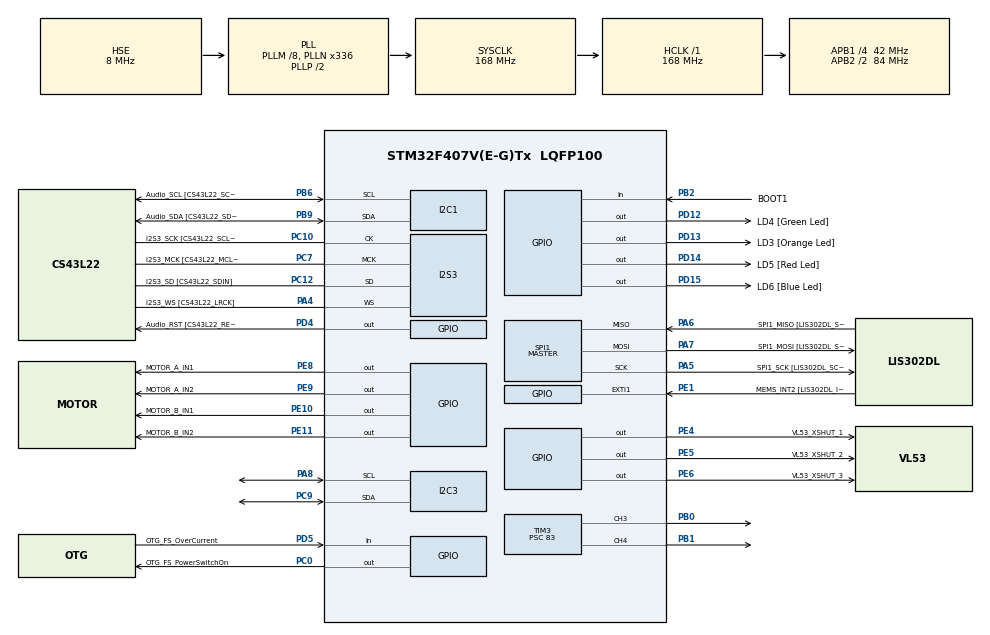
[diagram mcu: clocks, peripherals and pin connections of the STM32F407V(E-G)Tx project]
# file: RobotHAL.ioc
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I2C3.I2C_Mode=I2C_Fast
I2S3.AudioFreq-Half_Duplex_Master=I2S_AUDIOFREQ_96K
I2S3.ErrorAudioFreq=-2.34 %
I2S3.ErrorAudioFreq-Half_Duplex_Master=0.8 %
I2S3.FullDuplexMode=I2S_FULLDUPLEXMODE_DISABLE
I2S3.Instance=SPI$Index
I2S3.RealAudioFreq=93.75 KHz
I2S3.RealAudioFreq-Half_Duplex_Master=96.774 KHz
I2S3.VirtualMode=I2S_MODE_MASTER
Mcu.Family=STM32F4
Mcu.Name=STM32F407V(E-G)Tx
Mcu.Package=LQFP100
NVIC.PriorityGroup=NVIC_PRIORITYGROUP_0
PA10.GPIO_Label=OTG_FS_ID
PA10.GPIO_Mode=GPIO_MODE_AF_PP
PA10.GPIO_PuPd=GPIO_NOPULL
PA10.GPIO_Speed=GPIO_SPEED_FREQ_LOW
PA10.Signal=USB_OTG_FS_ID
PA11.GPIO_Label=OTG_FS_DM
PA11.GPIO_Mode=GPIO_MODE_AF_PP
PA11.GPIO_PuPd=GPIO_NOPULL
PA11.GPIO_Speed=GPIO_SPEED_FREQ_LOW
PA11.Signal=USB_OTG_FS_DM
PA12.GPIO_Label=OTG_FS_DP
PA12.GPIO_Mode=GPIO_MODE_AF_PP
PA12.GPIO_PuPd=GPIO_NOPULL
PA12.GPIO_Speed=GPIO_SPEED_FREQ_LOW
PA12.Signal=USB_OTG_FS_DP
PA13.GPIO_Label=SWDIO
PA13.Mode=Serial_Wire
PA13.Signal=SYS_JTMS-SWDIO
PA14.GPIO_Label=SWCLK
PA14.Mode=Serial_Wire
PA14.Signal=SYS_JTCK-SWCLK
PA4.GPIO_Label=I2S3_WS [CS43L22_LRCK]
PA4.GPIO_Mode=GPIO_MODE_AF_PP
PA4.GPIO_PuPd=GPIO_NOPULL
PA4.GPIO_Speed=GPIO_SPEED_FREQ_LOW
PA4.Mode=Half_Duplex_Master
PA4.Signal=I2S3_WS
PA5.GPIO_Label=SPI1_SCK [LIS302DL_SCL/SPC]
PA5.GPIO_Mode=GPIO_MODE_AF_PP
PA5.GPIO_PuPd=GPIO_NOPULL
PA5.GPIO_Speed=GPIO_SPEED_FREQ_LOW
PA5.Mode=Full_Duplex_Master
PA5.Signal=SPI1_SCK
PA6.GPIO_Label=SPI1_MISO [LIS302DL_SDO]
PA6.GPIO_Mode=GPIO_MODE_AF_PP
PA6.GPIO_PuPd=GPIO_NOPULL
PA6.GPIO_Speed=GPIO_SPEED_FREQ_LOW
PA6.Mode=Full_Duplex_Master
PA6.Signal=SPI1_MISO
PA7.GPIO_Label=SPI1_MOSI [LIS302DL_SDA/SDI/SDO]
PA7.GPIO_Mode=GPIO_MODE_AF_PP
PA7.GPIO_PuPd=GPIO_NOPULL
PA7.GPIO_Speed=GPIO_SPEED_FREQ_LOW
PA7.Mode=Full_Duplex_Master
PA7.Signal=SPI1_MOSI
PA8.Mode=I2C
PA8.Signal=I2C3_SCL
PB0.Signal=S_TIM3_CH3
PB1.Signal=S_TIM3_CH4
PB10.GPIO_Label=CLK_IN [MP45DT02_CLK]
PB10.GPIO_Mode=GPIO_MODE_AF_PP
PB10.GPIO_PuPd=GPIO_NOPULL
PB10.GPIO_Speed=GPIO_SPEED_FREQ_LOW
PB10.Signal=I2S2_CK
PB2.GPIO_Label=BOOT1
PB2.GPIO_Mode=GPIO_MODE_INPUT
PB2.GPIO_PuPd=GPIO_NOPULL
PB2.Signal=GPIO_Input
PB3.GPIO_Label=SWO
PB3.Signal=SYS_JTDO-SWO
PB6.GPIO_Label=Audio_SCL [CS43L22_SCL]
PB6.GPIO_Mode=GPIO_MODE_AF_OD
PB6.GPIO_Pu=GPIO_PULLUP
PB6.GPIO_PuPd=GPIO_NOPULL
PB6.GPIO_Speed=GPIO_SPEED_FREQ_LOW
PB6.Mode=I2C
PB6.Signal=I2C1_SCL
PB9.GPIO_Label=Audio_SDA [CS43L22_SDA]
PB9.GPIO_Mode=GPIO_MODE_AF_OD
PB9.GPIO_Pu=GPIO_PULLUP
PB9.GPIO_PuPd=GPIO_NOPULL
PB9.GPIO_Speed=GPIO_SPEED_FREQ_LOW
PB9.Mode=I2C
PB9.Signal=I2C1_SDA
PC0.GPIO_Label=OTG_FS_PowerSwitchOn
PC0.GPIO_PuPd=GPIO_NOPULL
PC0.GPIO_Speed=GPIO_SPEED_FREQ_LOW
PC0.PinState=GPIO_PIN_SET
PC0.Signal=GPIO_Output
PC10.GPIO_Label=I2S3_SCK [CS43L22_SCLK]
PC10.GPIO_Mode=GPIO_MODE_AF_PP
PC10.GPIO_PuPd=GPIO_NOPULL
PC10.GPIO_Speed=GPIO_SPEED_FREQ_LOW
PC10.Mode=Half_Duplex_Master
PC10.Signal=I2S3_CK
PC12.GPIO_Label=I2S3_SD [CS43L22_SDIN]
PC12.GPIO_Mode=GPIO_MODE_AF_PP
PC12.GPIO_PuPd=GPIO_NOPULL
PC12.GPIO_Speed=GPIO_SPEED_FREQ_LOW
PC12.Mode=Half_Duplex_Master
PC12.Signal=I2S3_SD
PC14-OSC32_IN.GPIO_Label=PC14-OSC32_IN
PC14-OSC32_IN.Mode=LSE-External-Oscillator
PC14-OSC32_IN.Signal=RCC_OSC32_IN
PC15-OSC32_OUT.GPIO_Label=PC15-OSC32_OUT
PC15-OSC32_OUT.Mode=LSE-External-Oscillator
PC15-OSC32_OUT.Signal=RCC_OSC32_OUT
PC3.GPIO_Label=PDM_OUT [MP45DT02_DOUT]
PC3.GPIO_Mode=GPIO_MODE_AF_PP
PC3.GPIO_PuPd=GPIO_NOPULL
PC3.GPIO_Speed=GPIO_SPEED_FREQ_LOW
PC3.Signal=I2S2_SD
PC7.GPIO_Label=I2S3_MCK [CS43L22_MCLK]
PC7.GPIO_Mode=GPIO_MODE_AF_PP
PC7.GPIO_PuPd=GPIO_NOPULL
PC7.GPIO_Speed=GPIO_SPEED_FREQ_LOW
PC7.Mode=Master_Clock_Activated
PC7.Signal=I2S3_MCK
PC9.Mode=I2C
PC9.Signal=I2C3_SDA
PD12.GPIO_Label=LD4 [Green Led]
PD12.GPIO_PuPd=GPIO_NOPULL
PD12.GPIO_Speed=GPIO_SPEED_FREQ_LOW
PD12.Signal=GPIO_Output
PD13.GPIO_Label=LD3 [Orange Led]
PD13.GPIO_PuPd=GPIO_NOPULL
PD13.GPIO_Speed=GPIO_SPEED_FREQ_LOW
PD13.Signal=GPIO_Output
PD14.GPIO_Label=LD5 [Red Led]
PD14.GPIO_PuPd=GPIO_NOPULL
PD14.GPIO_Speed=GPIO_SPEED_FREQ_LOW
PD14.Signal=GPIO_Output
PD15.GPIO_Label=LD6 [Blue Led]
PD15.GPIO_PuPd=GPIO_NOPULL
PD15.GPIO_Speed=GPIO_SPEED_FREQ_LOW
PD15.Signal=GPIO_Output
PD4.GPIO_Label=Audio_RST [CS43L22_RESET]
PD4.GPIO_PuPd=GPIO_NOPULL
PD4.GPIO_Speed=GPIO_SPEED_FREQ_LOW
PD4.Signal=GPIO_Output
PD5.GPIO_Label=OTG_FS_OverCurrent
PD5.GPIO_Mode=GPIO_MODE_INPUT
PD5.GPIO_PuPd=GPIO_NOPULL
PD5.Signal=GPIO_Input
PE1.GPIO_Label=MEMS_INT2 [LIS302DL_INT2]
PE1.GPIO_ModeDefaultEXTI=GPIO_MODE_EVT_RISING
PE1.GPIO_PuPd=GPIO_NOPULL
PE1.Signal=GPXTI1
PE10.GPIO_Label=MOTOR_B_IN1
PE10.Signal=GPIO_Output
PE11.GPIO_Label=MOTOR_B_IN2
PE11.Signal=GPIO_Output
PE4.GPIO_Label=VL53_XSHUT_1
PE4.Signal=GPIO_Output
PE5.GPIO_Label=VL53_XSHUT_2
PE5.Signal=GPIO_Output
PE6.GPIO_Label=VL53_XSHUT_3
PE6.Signal=GPIO_Output
PE8.GPIO_Label=MOTOR_A_IN1
PE8.Signal=GPIO_Output
PE9.GPIO_Label=MOTOR_A_IN2
PE9.Signal=GPIO_Output
PH0-OSC_IN.GPIO_Label=PH0-OSC_IN
PH0-OSC_IN.Mode=HSE-External-Oscillator
PH0-OSC_IN.Signal=RCC_OSC_IN
PH1-OSC_OUT.GPIO_Label=PH1-OSC_OUT
PH1-OSC_OUT.Mode=HSE-External-Oscillator
PH1-OSC_OUT.Signal=RCC_OSC_OUT
ProjectManager.HeapSize=0x200
ProjectManager.StackSize=0x400
ProjectManager.TargetToolchain=STM32CubeIDE
RCC.48MHZClocksFreq_Value=48000000
RCC.AHBFreq_Value=168000000
RCC.APB1CLKDivider=RCC_HCLK_DIV4
RCC.APB1Freq_Value=42000000
RCC.APB1TimFreq_Value=84000000
RCC.APB2CLKDivider=RCC_HCLK_DIV2
RCC.APB2Freq_Value=84000000
RCC.APB2TimFreq_Value=168000000
RCC.CortexFreq_Value=168000000
RCC.HCLKFreq_Value=168000000
RCC.HSE_VALUE=8000000
RCC.HSI_VALUE=16000000
RCC.PLLM=8
RCC.PLLN=336
RCC.PLLQ=7
RCC.PLLSourceVirtual=RCC_PLLSOURCE_HSE
RCC.SYSCLKFreq_VALUE=168000000
RCC.SYSCLKSource=RCC_SYSCLKSOURCE_PLLCLK
RCC.VCOOutputFreq_Value=336000000
SH.S_TIM3_CH3.0=TIM3_CH3,PWM Generation3 CH3
SH.S_TIM3_CH4.0=TIM3_CH4,PWM Generation4 CH4
SPI1.BaudRatePrescaler-Full_Duplex_Master=SPI_BAUDRATEPRESCALER_2
SPI1.CalculateBaudRate-Full_Duplex_Master=42.0 MBits/s
SPI1.Direction=SPI_DIRECTION_2LINES
SPI1.Mode=SPI_MODE_MASTER
SPI1.Mode-Full_Duplex_Master=SPI_MODE_MASTER
SPI1.VirtualType=VM_MASTER
TIM3.Channel-PWM\ Generation3\ CH3=TIM_CHANNEL_3
TIM3.Channel-PWM\ Generation4\ CH4=TIM_CHANNEL_4
TIM3.Period=999
TIM3.Prescaler=83
board=STM32F407G-DISC1

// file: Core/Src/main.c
/* USER CODE BEGIN Header */
/**
  ******************************************************************************
  * @file           : main.c
  * @brief          : Main program body
  ******************************************************************************
  * @attention
  *
  * Copyright (c) 2026 STMicroelectronics.
  * All rights reserved.
  *
  * This software is licensed under terms that can be found in the LICENSE file
  * in the root directory of this software component.
  * If no LICENSE file comes with this software, it is provided AS-IS.
  *
  ******************************************************************************
  */
/* USER CODE END Header */
#include "main.h"

I2C_HandleTypeDef hi2c1;
I2C_HandleTypeDef hi2c3;

I2S_HandleTypeDef hi2s3;

SPI_HandleTypeDef hspi1;

TIM_HandleTypeDef htim3;

void SystemClock_Config(void);
static void MX_GPIO_Init(void);
static void MX_I2C1_Init(void);
static void MX_I2S3_Init(void);
static void MX_SPI1_Init(void);
static void MX_I2C3_Init(void);
static void MX_TIM3_Init(void);

/* USER CODE BEGIN 0 */
#include <string.h>
#include <stdint.h>

// VL53L1X uses I2C address byte 0x52/0x53 (8-bit) per datasheet  [oai_citation:2‡vl53l1x.pdf](sediment://file_0000000055e0722fb961f491f9095d9f)
// In HAL, we pass the 7-bit address left-shifted by 1.
// 0x52 >> 1 = 0x29 (7-bit)
#define VL53L1X_ADDR_7BIT   (0x29)
#define VL53L1X_ADDR_HAL    (VL53L1X_ADDR_7BIT << 1)

// Reference registers from datasheet Table 8  [oai_citation:3‡vl53l1x.pdf](sediment://file_0000000055e0722fb961f491f9095d9f)
#define VL53_REG_MODEL_ID   0x010F
#define VL53_REG_MODULE_TYPE 0x0110
#define VL53_REG_MASK_REV   0x0111

static HAL_StatusTypeDef vl53_write_u16_index(I2C_HandleTypeDef *hi2c, uint16_t reg, const uint8_t *data, uint16_t len)
{
  // Datasheet: second byte(s) provide a 16-bit index (MSB first)  [oai_citation:4‡vl53l1x.pdf](sediment://file_0000000055e0722fb961f491f9095d9f)
  uint8_t buf[2 + 32];
  if (len > 32) return HAL_ERROR;

  buf[0] = (uint8_t)(reg >> 8);
  buf[1] = (uint8_t)(reg & 0xFF);
  if (len && data) memcpy(&buf[2], data, len);

  return HAL_I2C_Master_Transmit(hi2c, VL53L1X_ADDR_HAL, buf, 2 + len, 100);
}

static HAL_StatusTypeDef vl53_read_u16_index(I2C_HandleTypeDef *hi2c, uint16_t reg, uint8_t *data, uint16_t len)
{
  // Datasheet read format: write index (0x52) then read data (0x53)  [oai_citation:5‡vl53l1x.pdf](sediment://file_0000000055e0722fb961f491f9095d9f)
  uint8_t idx[2];
  idx[0] = (uint8_t)(reg >> 8);
  idx[1] = (uint8_t)(reg & 0xFF);

  HAL_StatusTypeDef st = HAL_I2C_Master_Transmit(hi2c, VL53L1X_ADDR_HAL, idx, 2, 100);
  if (st != HAL_OK) return st;

  return HAL_I2C_Master_Receive(hi2c, VL53L1X_ADDR_HAL, data, len, 100);
}

static void I2C_Scan(I2C_HandleTypeDef *hi2c)
{
  for (uint8_t addr = 1; addr < 127; addr++)
  {
    if (HAL_I2C_IsDeviceReady(hi2c, (addr << 1), 2, 10) == HAL_OK)
    {
      // Put a breakpoint here; watch 'addr'
      __NOP();
    }
  }
}
/* USER CODE END 0 */

int main(void)
{

  /* MCU Configuration--------------------------------------------------------*/

  /* Reset of all peripherals, Initializes the Flash interface and the Systick. */
  HAL_Init();

  /* Configure the system clock */
  SystemClock_Config();

  /* Initialize all configured peripherals */
  MX_GPIO_Init();
  MX_I2C1_Init();
  MX_I2S3_Init();
  MX_SPI1_Init();
  MX_I2C3_Init();
  MX_TIM3_Init();
  /* USER CODE BEGIN 2 */
  // 1) Keep all XSHUT low (CubeMX already does this in MX_GPIO_Init)
  // 2) Bring up ONLY sensor 1
  HAL_GPIO_WritePin(VL53_XSHUT_1_GPIO_Port, VL53_XSHUT_1_Pin, GPIO_PIN_SET);

  // Datasheet boot duration max 1.2 ms  [oai_citation:6‡vl53l1x.pdf](sediment://file_0000000055e0722fb961f491f9095d9f)
  HAL_Delay(5);

  // Quick scan: you should see addr = 0x29 hit in debugger
  I2C_Scan(&hi2c3);

  // Read reference ID registers (Table 8)
  uint8_t model_id = 0, module_type = 0, mask_rev = 0;
  HAL_StatusTypeDef s1 = vl53_read_u16_index(&hi2c3, VL53_REG_MODEL_ID, &model_id, 1);
  HAL_StatusTypeDef s2 = vl53_read_u16_index(&hi2c3, VL53_REG_MODULE_TYPE, &module_type, 1);
  HAL_StatusTypeDef s3 = vl53_read_u16_index(&hi2c3, VL53_REG_MASK_REV, &mask_rev, 1);

  // Set a breakpoint on the next line and inspect model_id/module_type/mask_rev and s1/s2/s3
  __NOP();
  /* USER CODE END 2 */

  /* Infinite loop */
  while (1)
  {

  }
}

void SystemClock_Config(void)
{
  RCC_OscInitTypeDef RCC_OscInitStruct = {0};
  RCC_ClkInitTypeDef RCC_ClkInitStruct = {0};

  /** Configure the main internal regulator output voltage
  */
  __HAL_RCC_PWR_CLK_ENABLE();
  __HAL_PWR_VOLTAGESCALING_CONFIG(PWR_REGULATOR_VOLTAGE_SCALE1);

  /** Initializes the RCC Oscillators according to the specified parameters
  * in the RCC_OscInitTypeDef structure.
  */
  RCC_OscInitStruct.OscillatorType = RCC_OSCILLATORTYPE_HSE;
  RCC_OscInitStruct.HSEState = RCC_HSE_ON;
  RCC_OscInitStruct.PLL.PLLState = RCC_PLL_ON;
  RCC_OscInitStruct.PLL.PLLSource = RCC_PLLSOURCE_HSE;
  RCC_OscInitStruct.PLL.PLLM = 8;
  RCC_OscInitStruct.PLL.PLLN = 336;
  RCC_OscInitStruct.PLL.PLLP = RCC_PLLP_DIV2;
  RCC_OscInitStruct.PLL.PLLQ = 7;
  if (HAL_RCC_OscConfig(&RCC_OscInitStruct) != HAL_OK)
  {
    Error_Handler();
  }

  /** Initializes the CPU, AHB and APB buses clocks
  */
  RCC_ClkInitStruct.ClockType = RCC_CLOCKTYPE_HCLK|RCC_CLOCKTYPE_SYSCLK
                              |RCC_CLOCKTYPE_PCLK1|RCC_CLOCKTYPE_PCLK2;
  RCC_ClkInitStruct.SYSCLKSource = RCC_SYSCLKSOURCE_PLLCLK;
  RCC_ClkInitStruct.AHBCLKDivider = RCC_SYSCLK_DIV1;
  RCC_ClkInitStruct.APB1CLKDivider = RCC_HCLK_DIV4;
  RCC_ClkInitStruct.APB2CLKDivider = RCC_HCLK_DIV2;

  if (HAL_RCC_ClockConfig(&RCC_ClkInitStruct, FLASH_LATENCY_5) != HAL_OK)
  {
    Error_Handler();
  }
}

static void MX_I2C1_Init(void)
{

  hi2c1.Instance = I2C1;
  hi2c1.Init.ClockSpeed = 100000;
  hi2c1.Init.DutyCycle = I2C_DUTYCYCLE_2;
  hi2c1.Init.OwnAddress1 = 0;
  hi2c1.Init.AddressingMode = I2C_ADDRESSINGMODE_7BIT;
  hi2c1.Init.DualAddressMode = I2C_DUALADDRESS_DISABLE;
  hi2c1.Init.OwnAddress2 = 0;
  hi2c1.Init.GeneralCallMode = I2C_GENERALCALL_DISABLE;
  hi2c1.Init.NoStretchMode = I2C_NOSTRETCH_DISABLE;
  if (HAL_I2C_Init(&hi2c1) != HAL_OK)
  {
    Error_Handler();
  }

}

static void MX_I2C3_Init(void)
{

  hi2c3.Instance = I2C3;
  hi2c3.Init.ClockSpeed = 400000;
  hi2c3.Init.DutyCycle = I2C_DUTYCYCLE_2;
  hi2c3.Init.OwnAddress1 = 0;
  hi2c3.Init.AddressingMode = I2C_ADDRESSINGMODE_7BIT;
  hi2c3.Init.DualAddressMode = I2C_DUALADDRESS_DISABLE;
  hi2c3.Init.OwnAddress2 = 0;
  hi2c3.Init.GeneralCallMode = I2C_GENERALCALL_DISABLE;
  hi2c3.Init.NoStretchMode = I2C_NOSTRETCH_DISABLE;
  if (HAL_I2C_Init(&hi2c3) != HAL_OK)
  {
    Error_Handler();
  }

}

static void MX_I2S3_Init(void)
{

  hi2s3.Instance = SPI3;
  hi2s3.Init.Mode = I2S_MODE_MASTER_TX;
  hi2s3.Init.Standard = I2S_STANDARD_PHILIPS;
  hi2s3.Init.DataFormat = I2S_DATAFORMAT_16B;
  hi2s3.Init.MCLKOutput = I2S_MCLKOUTPUT_ENABLE;
  hi2s3.Init.AudioFreq = I2S_AUDIOFREQ_96K;
  hi2s3.Init.CPOL = I2S_CPOL_LOW;
  hi2s3.Init.ClockSource = I2S_CLOCK_PLL;
  hi2s3.Init.FullDuplexMode = I2S_FULLDUPLEXMODE_DISABLE;
  if (HAL_I2S_Init(&hi2s3) != HAL_OK)
  {
    Error_Handler();
  }

}

static void MX_SPI1_Init(void)
{

  /* SPI1 parameter configuration*/
  hspi1.Instance = SPI1;
  hspi1.Init.Mode = SPI_MODE_MASTER;
  hspi1.Init.Direction = SPI_DIRECTION_2LINES;
  hspi1.Init.DataSize = SPI_DATASIZE_8BIT;
  hspi1.Init.CLKPolarity = SPI_POLARITY_LOW;
  hspi1.Init.CLKPhase = SPI_PHASE_1EDGE;
  hspi1.Init.NSS = SPI_NSS_SOFT;
  hspi1.Init.BaudRatePrescaler = SPI_BAUDRATEPRESCALER_2;
  hspi1.Init.FirstBit = SPI_FIRSTBIT_MSB;
  hspi1.Init.TIMode = SPI_TIMODE_DISABLE;
  hspi1.Init.CRCCalculation = SPI_CRCCALCULATION_DISABLE;
  hspi1.Init.CRCPolynomial = 10;
  if (HAL_SPI_Init(&hspi1) != HAL_OK)
  {
    Error_Handler();
  }

}

static void MX_TIM3_Init(void)
{

  TIM_MasterConfigTypeDef sMasterConfig = {0};
  TIM_OC_InitTypeDef sConfigOC = {0};

  htim3.Instance = TIM3;
  htim3.Init.Prescaler = 83;
  htim3.Init.CounterMode = TIM_COUNTERMODE_UP;
  htim3.Init.Period = 999;
  htim3.Init.ClockDivision = TIM_CLOCKDIVISION_DIV1;
  htim3.Init.AutoReloadPreload = TIM_AUTORELOAD_PRELOAD_DISABLE;
  if (HAL_TIM_PWM_Init(&htim3) != HAL_OK)
  {
    Error_Handler();
  }
  sMasterConfig.MasterOutputTrigger = TIM_TRGO_RESET;
  sMasterConfig.MasterSlaveMode = TIM_MASTERSLAVEMODE_DISABLE;
  if (HAL_TIMEx_MasterConfigSynchronization(&htim3, &sMasterConfig) != HAL_OK)
  {
    Error_Handler();
  }
  sConfigOC.OCMode = TIM_OCMODE_PWM1;
  sConfigOC.Pulse = 0;
  sConfigOC.OCPolarity = TIM_OCPOLARITY_HIGH;
  sConfigOC.OCFastMode = TIM_OCFAST_DISABLE;
  if (HAL_TIM_PWM_ConfigChannel(&htim3, &sConfigOC, TIM_CHANNEL_3) != HAL_OK)
  {
    Error_Handler();
  }
  if (HAL_TIM_PWM_ConfigChannel(&htim3, &sConfigOC, TIM_CHANNEL_4) != HAL_OK)
  {
    Error_Handler();
  }
  HAL_TIM_MspPostInit(&htim3);

}

static void MX_GPIO_Init(void)
{
  GPIO_InitTypeDef GPIO_InitStruct = {0};

  /* GPIO Ports Clock Enable */
  __HAL_RCC_GPIOE_CLK_ENABLE();
  __HAL_RCC_GPIOC_CLK_ENABLE();
  __HAL_RCC_GPIOH_CLK_ENABLE();
  __HAL_RCC_GPIOA_CLK_ENABLE();
  __HAL_RCC_GPIOB_CLK_ENABLE();
  __HAL_RCC_GPIOD_CLK_ENABLE();

  /*Configure GPIO pin Output Level */
  HAL_GPIO_WritePin(GPIOE, VL53_XSHUT_1_Pin|VL53_XSHUT_2_Pin|VL53_XSHUT_3_Pin|MOTOR_A_IN1_Pin
                          |MOTOR_A_IN2_Pin|MOTOR_B_IN1_Pin|MOTOR_B_IN2_Pin, GPIO_PIN_RESET);

  /*Configure GPIO pin Output Level */
  HAL_GPIO_WritePin(OTG_FS_PowerSwitchOn_GPIO_Port, OTG_FS_PowerSwitchOn_Pin, GPIO_PIN_SET);

  /*Configure GPIO pin Output Level */
  HAL_GPIO_WritePin(GPIOD, LD4_Pin|LD3_Pin|LD5_Pin|LD6_Pin
                          |Audio_RST_Pin, GPIO_PIN_RESET);

  /*Configure GPIO pins : VL53_XSHUT_1_Pin VL53_XSHUT_2_Pin VL53_XSHUT_3_Pin MOTOR_A_IN1_Pin
                           MOTOR_A_IN2_Pin MOTOR_B_IN1_Pin MOTOR_B_IN2_Pin */
  GPIO_InitStruct.Pin = VL53_XSHUT_1_Pin|VL53_XSHUT_2_Pin|VL53_XSHUT_3_Pin|MOTOR_A_IN1_Pin
                          |MOTOR_A_IN2_Pin|MOTOR_B_IN1_Pin|MOTOR_B_IN2_Pin;
  GPIO_InitStruct.Mode = GPIO_MODE_OUTPUT_PP;
  GPIO_InitStruct.Pull = GPIO_NOPULL;
  GPIO_InitStruct.Speed = GPIO_SPEED_FREQ_LOW;
  HAL_GPIO_Init(GPIOE, &GPIO_InitStruct);

  /*Configure GPIO pin : OTG_FS_PowerSwitchOn_Pin */
  GPIO_InitStruct.Pin = OTG_FS_PowerSwitchOn_Pin;
  GPIO_InitStruct.Mode = GPIO_MODE_OUTPUT_PP;
  GPIO_InitStruct.Pull = GPIO_NOPULL;
  GPIO_InitStruct.Speed = GPIO_SPEED_FREQ_LOW;
  HAL_GPIO_Init(OTG_FS_PowerSwitchOn_GPIO_Port, &GPIO_InitStruct);

  /*Configure GPIO pin : PDM_OUT_Pin */
  GPIO_InitStruct.Pin = PDM_OUT_Pin;
  GPIO_InitStruct.Mode = GPIO_MODE_AF_PP;
  GPIO_InitStruct.Pull = GPIO_NOPULL;
  GPIO_InitStruct.Speed = GPIO_SPEED_FREQ_LOW;
  GPIO_InitStruct.Alternate = GPIO_AF5_SPI2;
  HAL_GPIO_Init(PDM_OUT_GPIO_Port, &GPIO_InitStruct);

  /*Configure GPIO pin : BOOT1_Pin */
  GPIO_InitStruct.Pin = BOOT1_Pin;
  GPIO_InitStruct.Mode = GPIO_MODE_INPUT;
  GPIO_InitStruct.Pull = GPIO_NOPULL;
  HAL_GPIO_Init(BOOT1_GPIO_Port, &GPIO_InitStruct);

  /*Configure GPIO pin : CLK_IN_Pin */
  GPIO_InitStruct.Pin = CLK_IN_Pin;
  GPIO_InitStruct.Mode = GPIO_MODE_AF_PP;
  GPIO_InitStruct.Pull = GPIO_NOPULL;
  GPIO_InitStruct.Speed = GPIO_SPEED_FREQ_LOW;
  GPIO_InitStruct.Alternate = GPIO_AF5_SPI2;
  HAL_GPIO_Init(CLK_IN_GPIO_Port, &GPIO_InitStruct);

  /*Configure GPIO pins : LD4_Pin LD3_Pin LD5_Pin LD6_Pin
                           Audio_RST_Pin */
  GPIO_InitStruct.Pin = LD4_Pin|LD3_Pin|LD5_Pin|LD6_Pin
                          |Audio_RST_Pin;
  GPIO_InitStruct.Mode = GPIO_MODE_OUTPUT_PP;
  GPIO_InitStruct.Pull = GPIO_NOPULL;
  GPIO_InitStruct.Speed = GPIO_SPEED_FREQ_LOW;
  HAL_GPIO_Init(GPIOD, &GPIO_InitStruct);

  /*Configure GPIO pins : OTG_FS_ID_Pin OTG_FS_DM_Pin OTG_FS_DP_Pin */
  GPIO_InitStruct.Pin = OTG_FS_ID_Pin|OTG_FS_DM_Pin|OTG_FS_DP_Pin;
  GPIO_InitStruct.Mode = GPIO_MODE_AF_PP;
  GPIO_InitStruct.Pull = GPIO_NOPULL;
  GPIO_InitStruct.Speed = GPIO_SPEED_FREQ_LOW;
  GPIO_InitStruct.Alternate = GPIO_AF10_OTG_FS;
  HAL_GPIO_Init(GPIOA, &GPIO_InitStruct);

  /*Configure GPIO pin : OTG_FS_OverCurrent_Pin */
  GPIO_InitStruct.Pin = OTG_FS_OverCurrent_Pin;
  GPIO_InitStruct.Mode = GPIO_MODE_INPUT;
  GPIO_InitStruct.Pull = GPIO_NOPULL;
  HAL_GPIO_Init(OTG_FS_OverCurrent_GPIO_Port, &GPIO_InitStruct);

  /*Configure GPIO pin : MEMS_INT2_Pin */
  GPIO_InitStruct.Pin = MEMS_INT2_Pin;
  GPIO_InitStruct.Mode = GPIO_MODE_EVT_RISING;
  GPIO_InitStruct.Pull = GPIO_NOPULL;
  HAL_GPIO_Init(MEMS_INT2_GPIO_Port, &GPIO_InitStruct);

}

void Error_Handler(void)
{
  __disable_irq();
  while (1)
  {
  }
}
